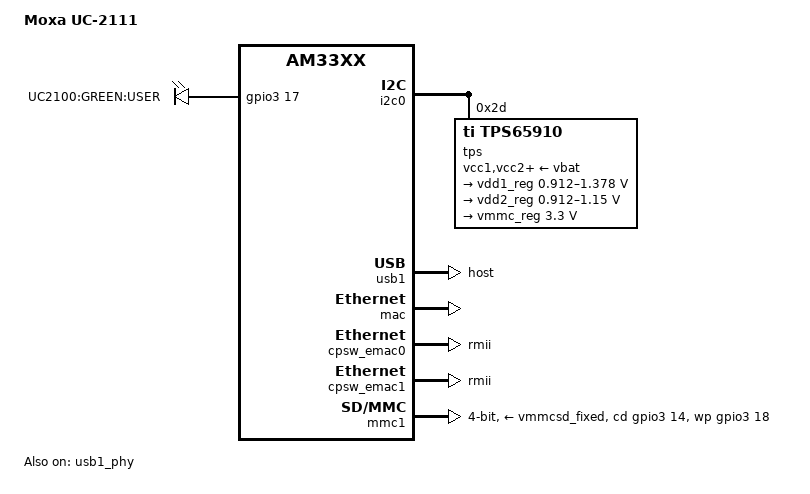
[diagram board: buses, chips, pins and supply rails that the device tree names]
// SPDX-License-Identifier: GPL-2.0
/*
 * Copyright (C) 2018 MOXA Inc. - https://www.moxa.com/
 *
 * Authors: SZ Lin (林上智) <sz.lin@moxa.com>
 *          Wes Huang (黃淵河) <wes.huang@moxa.com>
 *          Fero JD Zhou (周俊達) <FeroJD.Zhou@moxa.com>
 */

/dts-v1/;

#include "am335x-moxa-uc-2100-common.dtsi"

/ {
	model = "Moxa UC-2111";
	compatible = "moxa,uc-2111", "ti,am33xx";

	leds {
		compatible = "gpio-leds";
		led1 {
			label = "UC2100:GREEN:USER";
			gpios = <&gpio3 17 GPIO_ACTIVE_HIGH>;
			default-state = "off";
		};
	};
};

&am33xx_pinmux {
	pinctrl-names = "default";

	cpsw_default: cpsw_default {
		pinctrl-single,pins = <
			/* Slave 1 */
			AM33XX_IOPAD(0x90c, PIN_INPUT_PULLDOWN | MUX_MODE1)	/* mii1_crs.rmii1_crs_dv */
			AM33XX_IOPAD(0x910, PIN_INPUT_PULLUP | MUX_MODE1)	/* mii1_rxerr.rmii1_rxerr */
			AM33XX_IOPAD(0x914, PIN_OUTPUT_PULLDOWN | MUX_MODE1)	/* mii1_txen.rmii1_txen */
			AM33XX_IOPAD(0x924, PIN_OUTPUT_PULLDOWN | MUX_MODE1)	/* mii1_txd1.rmii1_txd1 */
			AM33XX_IOPAD(0x928, PIN_OUTPUT_PULLDOWN | MUX_MODE1)	/* mii1_txd0.rmii1_txd0 */
			AM33XX_IOPAD(0x93c, PIN_INPUT_PULLUP | MUX_MODE1)	/* mii1_rxd1.rmii1_rxd1 */
			AM33XX_IOPAD(0x940, PIN_INPUT_PULLUP | MUX_MODE1)	/* mii1_rxd0.rmii1_rxd0 */
			AM33XX_IOPAD(0x944, PIN_INPUT_PULLDOWN | MUX_MODE0)	/* mii1_refclk.rmii1_refclk */

			/* Slave 2 */
			AM33XX_IOPAD(0x870, PIN_INPUT_PULLDOWN | MUX_MODE3)	/* gpmc_wait0.rmii2_crs_dv */
			AM33XX_IOPAD(0x874, PIN_INPUT_PULLDOWN | MUX_MODE3)	/* gpmc_wpn.rmii2_rxer */
			AM33XX_IOPAD(0x840, PIN_OUTPUT_PULLDOWN | MUX_MODE3)	/* gpmc_a0.rmii2_txen */
			AM33XX_IOPAD(0x854, PIN_OUTPUT_PULLDOWN | MUX_MODE3)	/* gpmc_a5.rmii2_td0 */
			AM33XX_IOPAD(0x850, PIN_OUTPUT_PULLDOWN | MUX_MODE3)	/* gpmc_a4.rmii2_td1 */
			AM33XX_IOPAD(0x86c, PIN_INPUT_PULLDOWN | MUX_MODE3)	/* gpmc_a11.rmii2_rd0 */
			AM33XX_IOPAD(0x868, PIN_INPUT_PULLDOWN | MUX_MODE3)	/* gpmc_a10.rmii2_rd1 */
			AM33XX_IOPAD(0x908, PIN_INPUT_PULLDOWN | MUX_MODE1)	/* gmii1_col.rmii2_refclk */
		>;
	};

	mmc0_pins_default: pinmux_mmc0_pins {
		pinctrl-single,pins = <
			AM33XX_IOPAD(0x8f0, PIN_INPUT_PULLUP | MUX_MODE0)	/* mmc0_dat3.mmc0_dat3 */
			AM33XX_IOPAD(0x8f4, PIN_INPUT_PULLUP | MUX_MODE0)	/* mmc0_dat2.mmc0_dat2 */
			AM33XX_IOPAD(0x8f8, PIN_INPUT_PULLUP | MUX_MODE0)	/* mmc0_dat1.mmc0_dat1 */
			AM33XX_IOPAD(0x8fc, PIN_INPUT_PULLUP | MUX_MODE0)	/* mmc0_dat0.mmc0_dat0 */
			AM33XX_IOPAD(0x900, PIN_INPUT_PULLUP | MUX_MODE0)	/* mmc0_clk.mmc0_clk */
			AM33XX_IOPAD(0x904, PIN_INPUT_PULLUP | MUX_MODE0)	/* mmc0_cmd.mmc0_cmd */
			AM33XX_IOPAD(0x990, PIN_INPUT_PULLUP | MUX_MODE7)	/* mcasp0_aclkx.mmc0_sdcd */
		>;
	};

	spi1_pins: pinmux_spi1 {
		pinctrl-single,pins = <
			AM33XX_IOPAD(0x964, PIN_INPUT_PULLUP | MUX_MODE4)	/* ecap0_in_pwm0_out.spi1_sclk */
			AM33XX_IOPAD(0x978, PIN_INPUT_PULLUP | MUX_MODE4)	/* uart1_ctsn.spi1_cs0 */
			AM33XX_IOPAD(0x968, PIN_INPUT_PULLUP | MUX_MODE4)	/* uart0_ctsn.spi1_d0 */
			AM33XX_IOPAD(0x96c, PIN_INPUT_PULLUP | MUX_MODE4)	/* uart0_rtsn.spi1_d1 */
		>;
	};
};

&i2c0 {
	tps: tps@2d {
		compatible = "ti,tps65910";
		reg = <0x2d>;
	};
};

&usb1_phy {
	status = "okay";
};

&usb1 {
	status = "okay";
	dr_mode = "host";
};

#include "tps65910.dtsi"

&tps {
	vcc1-supply = <&vbat>;
	vcc2-supply = <&vbat>;
	vcc3-supply = <&vbat>;
	vcc4-supply = <&vbat>;
	vcc5-supply = <&vbat>;
	vcc6-supply = <&vbat>;
	vcc7-supply = <&vbat>;
	vccio-supply = <&vbat>;

	regulators {
		vrtc_reg: regulator@0 {
			regulator-always-on;
		};

		vio_reg: regulator@1 {
			regulator-always-on;
		};

		vdd1_reg: regulator@2 {
			/* VDD_MPU voltage limits 0.95V - 1.26V with +/-4% tolerance */
			regulator-name = "vdd_mpu";
			regulator-min-microvolt = <912500>;
			regulator-max-microvolt = <1378000>;
			regulator-boot-on;
			regulator-always-on;
		};

		vdd2_reg: regulator@3 {
			/* VDD_CORE voltage limits 0.95V - 1.1V with +/-4% tolerance */
			regulator-name = "vdd_core";
			regulator-min-microvolt = <912500>;
			regulator-max-microvolt = <1150000>;
			regulator-boot-on;
			regulator-always-on;
		};

		vdd3_reg: regulator@4 {
			regulator-always-on;
		};

		vdig1_reg: regulator@5 {
			regulator-always-on;
		};

		vdig2_reg: regulator@6 {
			regulator-always-on;
		};

		vpll_reg: regulator@7 {
			regulator-always-on;
		};

		vdac_reg: regulator@8 {
			regulator-always-on;
		};

		vaux1_reg: regulator@9 {
			regulator-always-on;
		};

		vaux2_reg: regulator@10 {
			regulator-always-on;
		};

		vaux33_reg: regulator@11 {
			regulator-always-on;
		};

		vmmc_reg: regulator@12 {
			compatible = "regulator-fixed";
			regulator-name = "vmmc_reg";
			regulator-min-microvolt = <3300000>;
			regulator-max-microvolt = <3300000>;
			regulator-always-on;
		};
	};
};

&mac {
	pinctrl-names = "default";
	pinctrl-0 = <&cpsw_default>;
	dual_emac = <1>;
	status = "okay";
};

&cpsw_emac0 {
	status = "okay";
	phy_id = <&davinci_mdio>, <0x4>;
	phy-mode = "rmii";
	dual_emac_res_vlan = <1>;
};

&cpsw_emac1 {
	status = "okay";
	phy_id = <&davinci_mdio>, <0x5>;
	phy-mode = "rmii";
	dual_emac_res_vlan = <2>;
};

&mmc1 {
	pinctrl-names = "default";
	vmmc-supply = <&vmmcsd_fixed>;
	bus-width = <4>;
	pinctrl-0 = <&mmc0_pins_default>;
	cd-gpios = <&gpio3 14 GPIO_ACTIVE_HIGH>;
	wp-gpios = <&gpio3 18 GPIO_ACTIVE_HIGH>;
	status = "okay";
};
